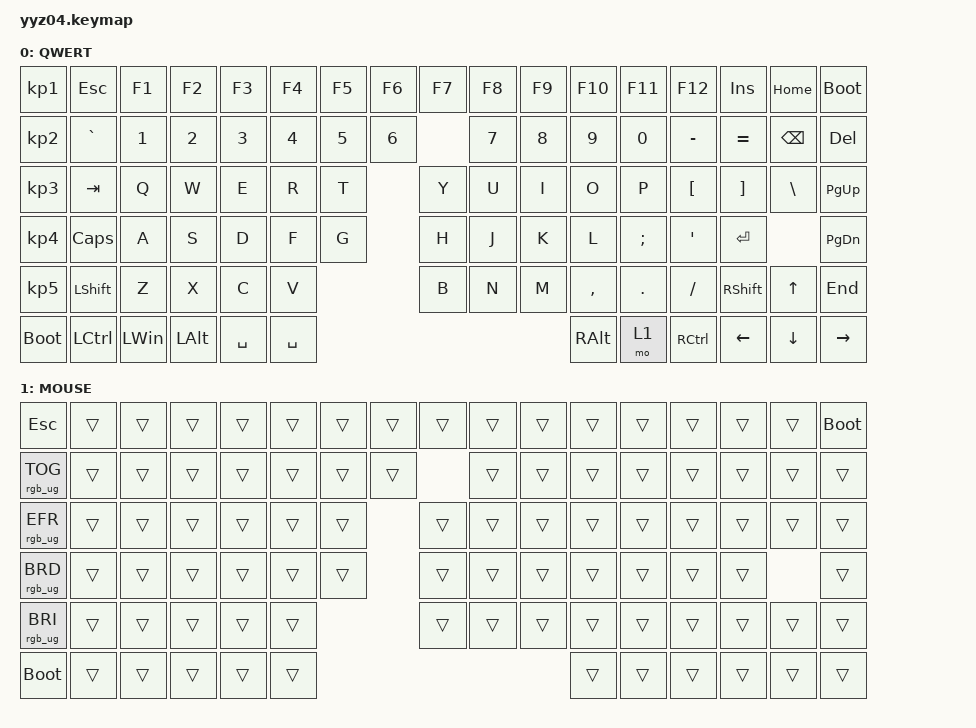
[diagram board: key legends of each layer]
#include <behaviors.dtsi>
#include <dt-bindings/zmk/bt.h>
#include <dt-bindings/zmk/keys.h>
#include <dt-bindings/zmk/outputs.h>
#include <dt-bindings/zmk/rgb.h>




&lt {
    flavor = "tap-preferred";
    quick-tap-ms = <180>;
};

&mt {
    quick-tap-ms = <180>;
    flavor = "tap-preferred";
};

/ {
    keymap {
        compatible = "zmk,keymap";

        LAYER0 {
            bindings = <
 &kp KP_N1          &kp ESC       &kp F1    &kp F2       &kp F3       &kp F4    &kp F5  &kp F6     &kp F7     &kp F8     &kp F9  &kp F10     &kp F11    &kp F12    &kp INS     &kp HOME    &bootloader
 &kp KP_N2          &kp GRAVE     &kp N1    &kp N2       &kp N3       &kp N4    &kp N5  &kp N6     &kp N7     &kp N8     &kp N9  &kp N0      &kp MINUS  &kp EQUAL         &kp BSPC         &kp DEL                         
 &kp KP_N3          &kp TAB       &kp Q     &kp W        &kp E        &kp R     &kp T              &kp Y      &kp U      &kp I   &kp O       &kp P      &kp LBKT   &kp RBKT    &kp BSLH    &kp PG_UP 
 &kp KP_N4          &kp CAPSLOCK  &kp A     &kp S        &kp D        &kp F     &kp G              &kp H      &kp J      &kp K   &kp L       &kp SEMI   &kp SQT          &kp ENTER         &kp PG_DN
 &kp KP_N5          &kp LSHFT     &kp Z     &kp X        &kp C        &kp V                        &kp B      &kp N      &kp M   &kp COMMA   &kp DOT    &kp FSLH   &kp RSHFT   &kp UP      &kp END 
 &bootloader      &kp LCTRL     &kp LWIN   &kp LALT    &kp SPACE                                 &kp SPACE                      &kp RALT   &mo 1      &kp RCTRL  &kp LEFT    &kp DOWN    &kp RIGHT    
                >;

            display-name = "QWERT";
        };
       layer_1 {
            bindings = <
 &kp ESC          &trans        &trans    &trans       &trans         &trans     &trans  &trans         &trans      &trans       &trans      &trans       &trans     &trans     &trans      &trans      &bootloader
 &rgb_ug RGB_TOG  &trans        &trans    &trans       &trans         &trans     &trans  &trans         &trans      &trans       &trans      &trans       &trans     &trans     &trans      &trans                         
 &rgb_ug RGB_EFR  &trans        &trans    &trans       &trans         &trans     &trans                 &trans      &trans       &trans      &trans       &trans     &trans     &trans      &trans      &trans 
 &rgb_ug RGB_BRD  &trans        &trans    &trans       &trans         &trans     &trans                 &trans      &trans       &trans      &trans       &trans     &trans     &trans      &trans 
 &rgb_ug RGB_BRI  &trans        &trans    &trans       &trans         &trans                            &trans      &trans       &trans      &trans       &trans     &trans     &trans      &trans      &trans  
 &bootloader      &trans        &trans    &trans       &trans                                           &trans                   &trans      &trans       &trans     &trans     &trans      &trans    
                                
            >;

            display-name = "MOUSE";
        };
    };
};
